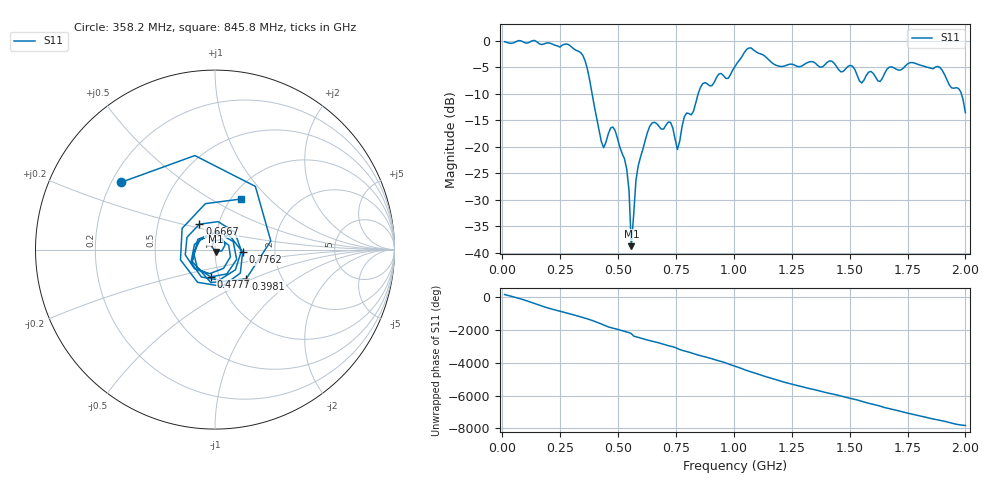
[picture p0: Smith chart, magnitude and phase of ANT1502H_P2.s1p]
!Created with skrf (http://scikit-rf.org).
# Hz S RI R 50.0
!freq ReS11 ImS11
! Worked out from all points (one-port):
!   201 points, 10 MHz to 2 GHz, reference 50 ohm
!   lowest |S11| = -38.8 dB at 557.2 MHz (marker M1), VSWR 1.02, Z = 50.4 - j1.1 ohm
!   |S11| at or under -10 dB: 387.9 MHz to 845.7 MHz (457.8 MHz wide, 74.2 % of centre); 1.983 GHz to end of sweep
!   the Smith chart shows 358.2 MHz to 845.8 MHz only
!   S11 on the Smith chart (normalised r, x): 358.2 MHz: 0.24, +0.30; 398.1 MHz: 1.33, -0.46; 477.6 MHz: 0.91, -0.28; 666.7 MHz: 0.81, +0.24; 776.1 MHz: 1.36, -0.04; 845.8 MHz: 1.11, +0.70
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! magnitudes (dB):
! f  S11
! 10 MHz  -0.1
! 258.8 MHz  -0.8
! 358.2 MHz  -3.8
! 398.1 MHz  -12.5
! 437.9 MHz  -20.1
! 477.6 MHz  -16.3
! 507.5 MHz  -20.0
! 537.4 MHz  -24.2
! 547.3 MHz  -28.3
! 557.2 MHz  -38.8
! 577.1 MHz  -26.4
! 587.1 MHz  -23.6
! 636.9 MHz  -16.1
! 666.7 MHz  -15.6
! 726.4 MHz  -15.4
! 756.2 MHz  -20.5
! 776.1 MHz  -16.2
! 845.8 MHz  -10.0
! 1.005 GHz  -4.8
! 1.075 GHz  -1.3
! 1.254 GHz  -4.4
! 1.502 GHz  -4.6
! 1.552 GHz  -7.9
! 1.582 GHz  -5.9
! 1.751 GHz  -4.3
! 1.891 GHz  -5.0
! 1.98 GHz  -9.6
! 2 GHz  -13.5
